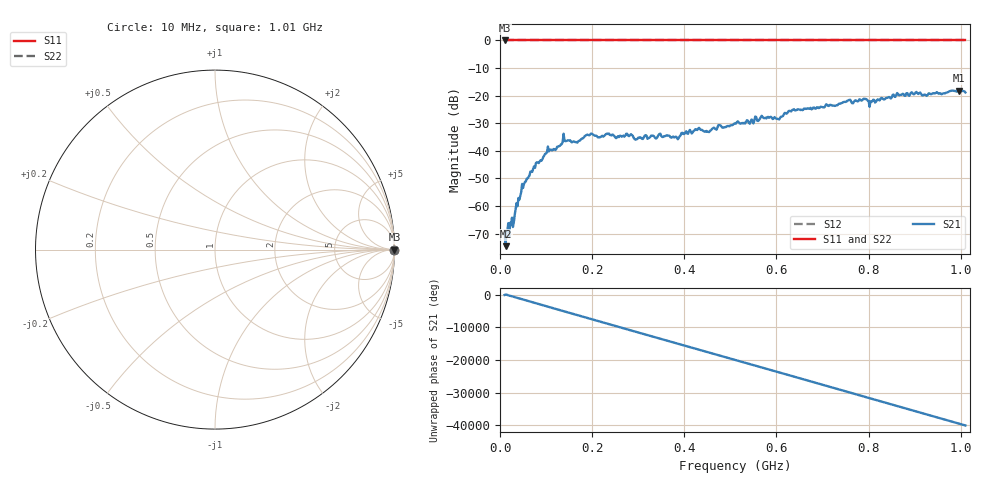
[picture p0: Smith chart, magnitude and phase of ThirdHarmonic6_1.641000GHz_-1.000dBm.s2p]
! 8/16/2025 7:38:04 PM
! C:\ANRITSUVNA\TEMP\TEMP.S2P
! CHANNEL.1
! TR.MEASUREMENT
! RAW.DATA
! RF.CORRECTION.OFF
! AVERAGING.OFF
! IF.BANDWIDTH: 5KHZ
! SWEEPTYPE:  FREQ.SWEEP(Linear)
! Reference Plane Port Info
! PORT:  PORT1  PORT2
! DISTANCE:  0  m  0  m
! TIME:  0  s  0  s
! PHASE.OFFSET:  0  deg.  0  deg.
! LOSS:  0  dB  0  dB
! REF.LOSS:  0  dB  0  dB
! REF.FREQ:  0  Hz  0  Hz
! Power Info
! POWER:  -20  dBm  -20  dBm
! EFF.POWER:  -20  dBm  -20  dBm
! SOURCE.ATTEN:  0  dB  0  dB
! TEST.ATTEN:  0  dB  0  dB
# GHZ S RI R 50.0
! FREQ.GHZ  S11RE  S11IM  S21RE  S21IM  S12RE  S12IM  S22RE  S22IM
!; PortSelection: Port_12
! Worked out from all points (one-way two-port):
!   501 points, 10 MHz to 1.01 GHz, reference 50 ohm
!   highest |S21| = -18.15 dB at 996 MHz (marker M1); lowest = -74.6 dB at 12 MHz (marker M2)
!   lowest |S11| = 0.0 dB at 10 MHz (marker M3)
!   |S11| at or under -10 dB: nowhere
!   |S22| runs from 0.0 to 0.0 dB; largest |S21 - S12| = 1.1
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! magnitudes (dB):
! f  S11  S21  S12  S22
! 10 MHz  0.0  -69.0  0.0  0.0
! 12 MHz  0.0  -74.6  0.0  0.0
! 28 MHz  0.0  -67.6  0.0  0.0
! 52 MHz  0.0  -52.0  0.0  0.0
! 78 MHz  0.0  -44.4  0.0  0.0
! 102 MHz  0.0  -40.5  0.0  0.0
! 140 MHz  0.0  -36.4  0.0  0.0
! 178 MHz  0.0  -35.6  0.0  0.0
! 198 MHz  0.0  -33.7  0.0  0.0
! 296 MHz  0.0  -35.9  0.0  0.0
! 344 MHz  0.0  -34.3  0.0  0.0
! 384 MHz  0.0  -35.2  0.0  0.0
! 428 MHz  0.0  -32.5  0.0  0.0
! 450 MHz  0.0  -33.1  0.0  0.0
! 510 MHz  0.0  -30.1  0.0  0.0
! 570 MHz  0.0  -27.8  0.0  0.0
! 604 MHz  0.0  -28.5  0.0  0.0
! 634 MHz  0.0  -25.2  0.0  0.0
! 678 MHz  0.0  -24.8  0.0  0.0
! 844 MHz  0.0  -20.5  0.0  0.0
! 996 MHz  0.0  -18.1  0.0  0.0
! 1.01 GHz  0.0  -18.9  0.0  0.0
